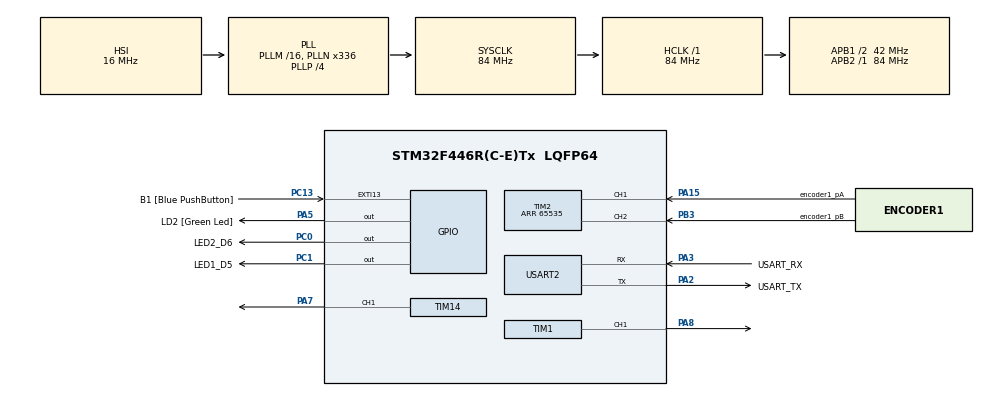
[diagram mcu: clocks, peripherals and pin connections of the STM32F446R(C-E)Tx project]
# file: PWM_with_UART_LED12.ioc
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Mcu.Family=STM32F4
Mcu.Name=STM32F446R(C-E)Tx
Mcu.Package=LQFP64
NVIC.EXTI15_10_IRQn=true\:0\:0\:false\:false\:true\:true\:true\:true
NVIC.PriorityGroup=NVIC_PRIORITYGROUP_0
PA13.GPIO_Label=TMS
PA13.Mode=Serial_Wire
PA13.Signal=SYS_JTMS-SWDIO
PA14.GPIO_Label=TCK
PA14.Mode=Serial_Wire
PA14.Signal=SYS_JTCK-SWCLK
PA15.GPIO_Label=encoder1_pA
PA15.GPIO_PuPd=GPIO_PULLUP
PA15.Signal=S_TIM2_CH1_ETR
PA2.GPIO_Label=USART_TX
PA2.Mode=Asynchronous
PA2.Signal=USART2_TX
PA3.GPIO_Label=USART_RX
PA3.Mode=Asynchronous
PA3.Signal=USART2_RX
PA5.GPIO_Label=LD2 [Green Led]
PA5.Signal=GPIO_Output
PA7.Signal=S_TIM14_CH1
PA8.Signal=S_TIM1_CH1
PB3.GPIO_Label=encoder1_pB
PB3.GPIO_PuPd=GPIO_PULLUP
PB3.Signal=S_TIM2_CH2
PC0.GPIO_Label=LED2_D6
PC0.Signal=GPIO_Output
PC1.GPIO_Label=LED1_D5
PC1.Signal=GPIO_Output
PC13.GPIO_Label=B1 [Blue PushButton]
PC13.GPIO_ModeDefaultEXTI=GPIO_MODE_IT_FALLING
PC13.Signal=GPXTI13
PC14-OSC32_IN.Mode=LSE-External-Oscillator
PC14-OSC32_IN.Signal=RCC_OSC32_IN
PC15-OSC32_OUT.Mode=LSE-External-Oscillator
PC15-OSC32_OUT.Signal=RCC_OSC32_OUT
PH0-OSC_IN.Mode=HSE-External-Oscillator
PH0-OSC_IN.Signal=RCC_OSC_IN
PH1-OSC_OUT.Mode=HSE-External-Oscillator
PH1-OSC_OUT.Signal=RCC_OSC_OUT
ProjectManager.HeapSize=0x200
ProjectManager.StackSize=0x400
ProjectManager.TargetToolchain=STM32CubeIDE
RCC.48MHZClocksFreq_Value=84000000
RCC.AHBFreq_Value=84000000
RCC.APB1CLKDivider=RCC_HCLK_DIV2
RCC.APB1Freq_Value=42000000
RCC.APB1TimFreq_Value=84000000
RCC.APB2Freq_Value=84000000
RCC.APB2TimFreq_Value=84000000
RCC.CortexFreq_Value=84000000
RCC.FLatency-AdvancedSettings=FLASH_LATENCY_2
RCC.HCLKFreq_Value=84000000
RCC.HSE_VALUE=8000000
RCC.HSI_VALUE=16000000
RCC.PLLN=336
RCC.PLLP=RCC_PLLP_DIV4
RCC.SYSCLKFreq_VALUE=84000000
RCC.SYSCLKSource=RCC_SYSCLKSOURCE_PLLCLK
RCC.USBFreq_Value=168000000
RCC.VCOOutputFreq_Value=336000000
SH.S_TIM14_CH1.0=TIM14_CH1,PWM Generation1 CH1
SH.S_TIM1_CH1.0=TIM1_CH1,PWM Generation1 CH1
SH.S_TIM2_CH1_ETR.0=TIM2_CH1,Encoder_Interface
SH.S_TIM2_CH2.0=TIM2_CH2,Encoder_Interface
TIM1.Channel-PWM\ Generation1\ CH1=TIM_CHANNEL_1
TIM1.Period=1000-1
TIM1.Prescaler=84-1
TIM1.Pulse-PWM\ Generation1\ CH1=200
TIM14.Channel=TIM_CHANNEL_1
TIM14.Period=1000-1
TIM14.Prescaler=84-1
TIM14.Pulse=200
TIM2.EncoderMode=TIM_ENCODERMODE_TI12
TIM2.Period=65535
USART2.VirtualMode=VM_ASYNC
VP_TIM14_VS_ClockSourceINT.Mode=Enable_Timer
board=NUCLEO-F446RE

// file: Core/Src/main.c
/* USER CODE BEGIN Header */
/**
  ******************************************************************************
  * @file           : main.c
  * @brief          : Main program body
  ******************************************************************************
  * @attention
  *
  * Copyright (c) 2023 STMicroelectronics.
  * All rights reserved.
  *
  * This software is licensed under terms that can be found in the LICENSE file
  * in the root directory of this software component.
  * If no LICENSE file comes with this software, it is provided AS-IS.
  *
  ******************************************************************************
  */
/* USER CODE END Header */
#include "main.h"

/* USER CODE BEGIN Includes */
#include <stdio.h>
/* USER CODE END Includes */

/* USER CODE BEGIN PD */
#define LED_ON 0
#define LED_OFF 1

#define CW_slow1 0
#define CW_fast 1
#define CW_slow2 2
#define CCW_slow2 3
#define CCW_fast 4
#define CCW_slow1 5
/* USER CODE END PD */

TIM_HandleTypeDef htim1;
TIM_HandleTypeDef htim2;
TIM_HandleTypeDef htim14;

UART_HandleTypeDef huart2;

void SystemClock_Config(void);
static void MX_GPIO_Init(void);
static void MX_USART2_UART_Init(void);
static void MX_TIM1_Init(void);
static void MX_TIM14_Init(void);
static void MX_TIM2_Init(void);
/* USER CODE BEGIN PFP */
#define PUTCHAR_PROTOTYPE int __io_putchar(int ch)
/* USER CODE END PFP */

/* USER CODE BEGIN 0 */
int swMode = 0;
int flag = 0;
/* USER CODE END 0 */

int main(void)
{

  /* MCU Configuration--------------------------------------------------------*/

  /* Reset of all peripherals, Initializes the Flash interface and the Systick. */
  HAL_Init();

  /* Configure the system clock */
  SystemClock_Config();

  /* Initialize all configured peripherals */
  MX_GPIO_Init();
  MX_USART2_UART_Init();
  MX_TIM1_Init();
  MX_TIM14_Init();
  MX_TIM2_Init();
  /* USER CODE BEGIN 2 */
  HAL_TIM_PWM_Start(&htim1, TIM_CHANNEL_1);
  HAL_TIM_PWM_Start(&htim14, TIM_CHANNEL_1);
  HAL_TIM_Encoder_Start(&htim2, TIM_CHANNEL_1 |  TIM_CHANNEL_2);
  printf("Setting completed\n\r");
  /* USER CODE END 2 */

  /* Infinite loop */
  /* USER CODE BEGIN WHILE */
  while (1)
  {
	  int Direction = HAL_TIM_IS_TIM_COUNTING_DOWN(&htim2);
	  int CaptureNum = (short)_HAL_TIM_GET_COUNTER(&htim2);
	  _HAL_TIM_GET_COUNTER(&htim2) = 0;
	  printf("Direction is %d \r\n",Direction);
	  HAL_Delay(10);
	  printf("CaptureNumber is %d \r\n",CaptureNum);

	  if(flag){
		  switch(swMode){
			  case CW_slow1:
	//  	  		printf("CW_slow1\r\n");
				__HAL_TIM_SET_COMPARE(&htim1,TIM_CHANNEL_1,0);
				HAL_Delay(10);
				__HAL_TIM_SET_COMPARE(&htim14,TIM_CHANNEL_1,200);
				break;
			  case CW_fast:
	//  	  		printf("CW_fast\r\n");
				__HAL_TIM_SET_COMPARE(&htim1,TIM_CHANNEL_1,0);
				HAL_Delay(10);
				__HAL_TIM_SET_COMPARE(&htim14,TIM_CHANNEL_1,300);
				break;
			  case CW_slow2:
	//  	  		printf("CW_slow2\r\n");
				__HAL_TIM_SET_COMPARE(&htim1,TIM_CHANNEL_1,0);
				HAL_Delay(10);
				__HAL_TIM_SET_COMPARE(&htim14,TIM_CHANNEL_1,200);
				break;
			  case CCW_slow2:
	//  	  		printf("CCW_slow2\r\n");
				__HAL_TIM_SET_COMPARE(&htim14,TIM_CHANNEL_1,0);
				HAL_Delay(10);
				__HAL_TIM_SET_COMPARE(&htim1,TIM_CHANNEL_1,200);
				break;
			  case CCW_fast:
	//  	  		printf("CCW_fast\r\n");
				__HAL_TIM_SET_COMPARE(&htim14,TIM_CHANNEL_1,0);
				HAL_Delay(10);
				__HAL_TIM_SET_COMPARE(&htim1,TIM_CHANNEL_1,300);
				break;
			  case CCW_slow1:
	//  	  		printf("CCW_slow1\r\n");
				__HAL_TIM_SET_COMPARE(&htim14,TIM_CHANNEL_1,0);
				HAL_Delay(10);
				__HAL_TIM_SET_COMPARE(&htim1,TIM_CHANNEL_1,200);
				break;
			  default:
				printf("mode select ERROR\r\n");
				break;
		  }
		  if(swMode < 3){	// CR mode
			  HAL_GPIO_WritePin(GPIOC,LED2_D6_Pin,LED_OFF);
			  HAL_GPIO_WritePin(GPIOC,LED1_D5_Pin,LED_ON);
			  if(flag){
				  printf("CR\r\n");
				  flag = 0;
			  }
		  }else{
			  HAL_GPIO_WritePin(GPIOC,LED1_D5_Pin,LED_OFF);
			  HAL_GPIO_WritePin(GPIOC,LED2_D6_Pin,LED_ON);
			  if(flag){
				  printf("CR\r\n");
				  flag = 0;
			  }
		  }
	  }

	  HAL_Delay(500);
    /* USER CODE END WHILE */

  }
}

void SystemClock_Config(void)
{
  RCC_OscInitTypeDef RCC_OscInitStruct = {0};
  RCC_ClkInitTypeDef RCC_ClkInitStruct = {0};

  /** Configure the main internal regulator output voltage
  */
  __HAL_RCC_PWR_CLK_ENABLE();
  __HAL_PWR_VOLTAGESCALING_CONFIG(PWR_REGULATOR_VOLTAGE_SCALE3);

  /** Initializes the RCC Oscillators according to the specified parameters
  * in the RCC_OscInitTypeDef structure.
  */
  RCC_OscInitStruct.OscillatorType = RCC_OSCILLATORTYPE_HSI;
  RCC_OscInitStruct.HSIState = RCC_HSI_ON;
  RCC_OscInitStruct.HSICalibrationValue = RCC_HSICALIBRATION_DEFAULT;
  RCC_OscInitStruct.PLL.PLLState = RCC_PLL_ON;
  RCC_OscInitStruct.PLL.PLLSource = RCC_PLLSOURCE_HSI;
  RCC_OscInitStruct.PLL.PLLM = 16;
  RCC_OscInitStruct.PLL.PLLN = 336;
  RCC_OscInitStruct.PLL.PLLP = RCC_PLLP_DIV4;
  RCC_OscInitStruct.PLL.PLLQ = 2;
  RCC_OscInitStruct.PLL.PLLR = 2;
  if (HAL_RCC_OscConfig(&RCC_OscInitStruct) != HAL_OK)
  {
    Error_Handler();
  }

  /** Initializes the CPU, AHB and APB buses clocks
  */
  RCC_ClkInitStruct.ClockType = RCC_CLOCKTYPE_HCLK|RCC_CLOCKTYPE_SYSCLK
                              |RCC_CLOCKTYPE_PCLK1|RCC_CLOCKTYPE_PCLK2;
  RCC_ClkInitStruct.SYSCLKSource = RCC_SYSCLKSOURCE_PLLCLK;
  RCC_ClkInitStruct.AHBCLKDivider = RCC_SYSCLK_DIV1;
  RCC_ClkInitStruct.APB1CLKDivider = RCC_HCLK_DIV2;
  RCC_ClkInitStruct.APB2CLKDivider = RCC_HCLK_DIV1;

  if (HAL_RCC_ClockConfig(&RCC_ClkInitStruct, FLASH_LATENCY_2) != HAL_OK)
  {
    Error_Handler();
  }
}

static void MX_TIM1_Init(void)
{

  TIM_MasterConfigTypeDef sMasterConfig = {0};
  TIM_OC_InitTypeDef sConfigOC = {0};
  TIM_BreakDeadTimeConfigTypeDef sBreakDeadTimeConfig = {0};

  htim1.Instance = TIM1;
  htim1.Init.Prescaler = 84-1;
  htim1.Init.CounterMode = TIM_COUNTERMODE_UP;
  htim1.Init.Period = 1000-1;
  htim1.Init.ClockDivision = TIM_CLOCKDIVISION_DIV1;
  htim1.Init.RepetitionCounter = 0;
  htim1.Init.AutoReloadPreload = TIM_AUTORELOAD_PRELOAD_DISABLE;
  if (HAL_TIM_PWM_Init(&htim1) != HAL_OK)
  {
    Error_Handler();
  }
  sMasterConfig.MasterOutputTrigger = TIM_TRGO_RESET;
  sMasterConfig.MasterSlaveMode = TIM_MASTERSLAVEMODE_DISABLE;
  if (HAL_TIMEx_MasterConfigSynchronization(&htim1, &sMasterConfig) != HAL_OK)
  {
    Error_Handler();
  }
  sConfigOC.OCMode = TIM_OCMODE_PWM1;
  sConfigOC.Pulse = 200;
  sConfigOC.OCPolarity = TIM_OCPOLARITY_HIGH;
  sConfigOC.OCNPolarity = TIM_OCNPOLARITY_HIGH;
  sConfigOC.OCFastMode = TIM_OCFAST_DISABLE;
  sConfigOC.OCIdleState = TIM_OCIDLESTATE_RESET;
  sConfigOC.OCNIdleState = TIM_OCNIDLESTATE_RESET;
  if (HAL_TIM_PWM_ConfigChannel(&htim1, &sConfigOC, TIM_CHANNEL_1) != HAL_OK)
  {
    Error_Handler();
  }
  sBreakDeadTimeConfig.OffStateRunMode = TIM_OSSR_DISABLE;
  sBreakDeadTimeConfig.OffStateIDLEMode = TIM_OSSI_DISABLE;
  sBreakDeadTimeConfig.LockLevel = TIM_LOCKLEVEL_OFF;
  sBreakDeadTimeConfig.DeadTime = 0;
  sBreakDeadTimeConfig.BreakState = TIM_BREAK_DISABLE;
  sBreakDeadTimeConfig.BreakPolarity = TIM_BREAKPOLARITY_HIGH;
  sBreakDeadTimeConfig.AutomaticOutput = TIM_AUTOMATICOUTPUT_DISABLE;
  if (HAL_TIMEx_ConfigBreakDeadTime(&htim1, &sBreakDeadTimeConfig) != HAL_OK)
  {
    Error_Handler();
  }
  HAL_TIM_MspPostInit(&htim1);

}

static void MX_TIM2_Init(void)
{

  TIM_Encoder_InitTypeDef sConfig = {0};
  TIM_MasterConfigTypeDef sMasterConfig = {0};

  htim2.Instance = TIM2;
  htim2.Init.Prescaler = 0;
  htim2.Init.CounterMode = TIM_COUNTERMODE_UP;
  htim2.Init.Period = 65535;
  htim2.Init.ClockDivision = TIM_CLOCKDIVISION_DIV1;
  htim2.Init.AutoReloadPreload = TIM_AUTORELOAD_PRELOAD_DISABLE;
  sConfig.EncoderMode = TIM_ENCODERMODE_TI12;
  sConfig.IC1Polarity = TIM_ICPOLARITY_RISING;
  sConfig.IC1Selection = TIM_ICSELECTION_DIRECTTI;
  sConfig.IC1Prescaler = TIM_ICPSC_DIV1;
  sConfig.IC1Filter = 0;
  sConfig.IC2Polarity = TIM_ICPOLARITY_RISING;
  sConfig.IC2Selection = TIM_ICSELECTION_DIRECTTI;
  sConfig.IC2Prescaler = TIM_ICPSC_DIV1;
  sConfig.IC2Filter = 0;
  if (HAL_TIM_Encoder_Init(&htim2, &sConfig) != HAL_OK)
  {
    Error_Handler();
  }
  sMasterConfig.MasterOutputTrigger = TIM_TRGO_RESET;
  sMasterConfig.MasterSlaveMode = TIM_MASTERSLAVEMODE_DISABLE;
  if (HAL_TIMEx_MasterConfigSynchronization(&htim2, &sMasterConfig) != HAL_OK)
  {
    Error_Handler();
  }

}

static void MX_TIM14_Init(void)
{

  TIM_OC_InitTypeDef sConfigOC = {0};

  htim14.Instance = TIM14;
  htim14.Init.Prescaler = 84-1;
  htim14.Init.CounterMode = TIM_COUNTERMODE_UP;
  htim14.Init.Period = 1000-1;
  htim14.Init.ClockDivision = TIM_CLOCKDIVISION_DIV1;
  htim14.Init.AutoReloadPreload = TIM_AUTORELOAD_PRELOAD_DISABLE;
  if (HAL_TIM_Base_Init(&htim14) != HAL_OK)
  {
    Error_Handler();
  }
  if (HAL_TIM_PWM_Init(&htim14) != HAL_OK)
  {
    Error_Handler();
  }
  sConfigOC.OCMode = TIM_OCMODE_PWM1;
  sConfigOC.Pulse = 200;
  sConfigOC.OCPolarity = TIM_OCPOLARITY_HIGH;
  sConfigOC.OCFastMode = TIM_OCFAST_DISABLE;
  if (HAL_TIM_PWM_ConfigChannel(&htim14, &sConfigOC, TIM_CHANNEL_1) != HAL_OK)
  {
    Error_Handler();
  }
  HAL_TIM_MspPostInit(&htim14);

}

static void MX_USART2_UART_Init(void)
{

  huart2.Instance = USART2;
  huart2.Init.BaudRate = 115200;
  huart2.Init.WordLength = UART_WORDLENGTH_8B;
  huart2.Init.StopBits = UART_STOPBITS_1;
  huart2.Init.Parity = UART_PARITY_NONE;
  huart2.Init.Mode = UART_MODE_TX_RX;
  huart2.Init.HwFlowCtl = UART_HWCONTROL_NONE;
  huart2.Init.OverSampling = UART_OVERSAMPLING_16;
  if (HAL_UART_Init(&huart2) != HAL_OK)
  {
    Error_Handler();
  }

}

static void MX_GPIO_Init(void)
{
  GPIO_InitTypeDef GPIO_InitStruct = {0};

  /* GPIO Ports Clock Enable */
  __HAL_RCC_GPIOC_CLK_ENABLE();
  __HAL_RCC_GPIOH_CLK_ENABLE();
  __HAL_RCC_GPIOA_CLK_ENABLE();
  __HAL_RCC_GPIOB_CLK_ENABLE();

  /*Configure GPIO pin Output Level */
  HAL_GPIO_WritePin(GPIOC, LED2_D6_Pin|LED1_D5_Pin, GPIO_PIN_RESET);

  /*Configure GPIO pin Output Level */
  HAL_GPIO_WritePin(LD2_GPIO_Port, LD2_Pin, GPIO_PIN_RESET);

  /*Configure GPIO pin : B1_Pin */
  GPIO_InitStruct.Pin = B1_Pin;
  GPIO_InitStruct.Mode = GPIO_MODE_IT_FALLING;
  GPIO_InitStruct.Pull = GPIO_NOPULL;
  HAL_GPIO_Init(B1_GPIO_Port, &GPIO_InitStruct);

  /*Configure GPIO pins : LED2_D6_Pin LED1_D5_Pin */
  GPIO_InitStruct.Pin = LED2_D6_Pin|LED1_D5_Pin;
  GPIO_InitStruct.Mode = GPIO_MODE_OUTPUT_PP;
  GPIO_InitStruct.Pull = GPIO_NOPULL;
  GPIO_InitStruct.Speed = GPIO_SPEED_FREQ_LOW;
  HAL_GPIO_Init(GPIOC, &GPIO_InitStruct);

  /*Configure GPIO pin : LD2_Pin */
  GPIO_InitStruct.Pin = LD2_Pin;
  GPIO_InitStruct.Mode = GPIO_MODE_OUTPUT_PP;
  GPIO_InitStruct.Pull = GPIO_NOPULL;
  GPIO_InitStruct.Speed = GPIO_SPEED_FREQ_LOW;
  HAL_GPIO_Init(LD2_GPIO_Port, &GPIO_InitStruct);

  /* EXTI interrupt init*/
  HAL_NVIC_SetPriority(EXTI15_10_IRQn, 0, 0);
  HAL_NVIC_EnableIRQ(EXTI15_10_IRQn);

}

/* USER CODE BEGIN 4 */
/**
  * @brief  Retargets the C library printf function to the USART.
  * @param  None
  * @retval None
  */
PUTCHAR_PROTOTYPE
{
  /* Place your implementation of fputc here */
  /* e.g. write a character to the USART1 and Loop until the end of transmission */
  HAL_UART_Transmit(&huart2, (uint8_t *)&ch, 1, 0xFFFF);

  return ch;
}
void HAL_GPIO_EXTI_Callback(uint16_t GPIO_Pin)
{
	  if(GPIO_Pin == GPIO_PIN_13) {
//		HAL_GPIO_TogglePin(GPIOA, GPIO_PIN_5);
		//printf("Blue button triggered\r\n");
		swMode++;
		swMode = (swMode > 5)?0:swMode;
		printf("mode select:%d\r\n",swMode);
		flag = 1;
  } else {
      __NOP();
  }
}
/* USER CODE END 4 */

void Error_Handler(void)
{
  __disable_irq();
  while (1)
  {
  }
}
